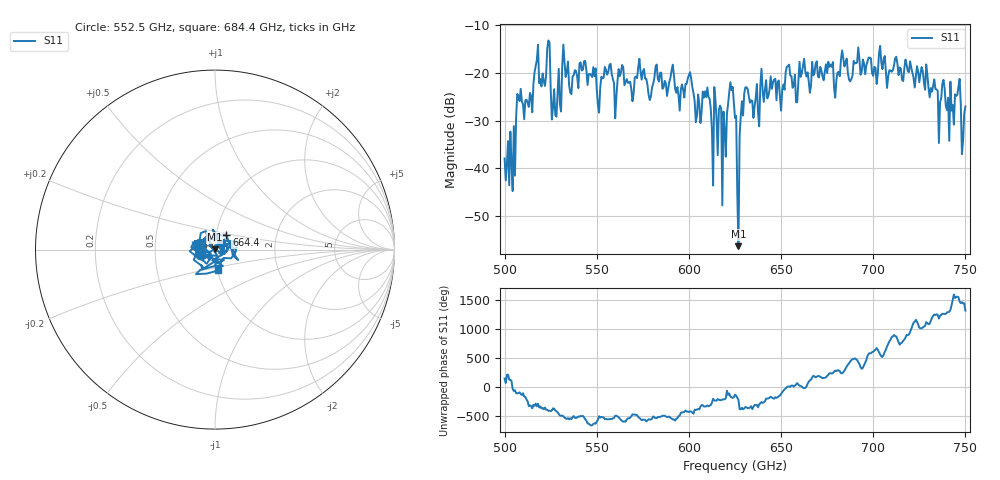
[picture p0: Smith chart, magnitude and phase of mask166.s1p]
!Created with skrf (http://scikit-rf.org).
# GHz S MA R 50.0
!freq magS11 angS11
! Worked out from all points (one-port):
!   401 points, 500 GHz to 750 GHz, reference 50 ohm
!   lowest |S11| = -56.4 dB at 626.9 GHz (marker M1), VSWR 1.00, Z = 49.9 + j0.11 ohm
!   |S11| at or under -10 dB: start of sweep to end of sweep
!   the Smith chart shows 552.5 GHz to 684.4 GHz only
!   S11 on the Smith chart (normalised r, x): 552.5 GHz: 0.84, -0.05; 664.4 GHz: 1.12, +0.18; 684.4 GHz: 1.01, -0.24
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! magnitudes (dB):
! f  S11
! 500 GHz  -37.9
! 505 GHz  -31.1
! 507.5 GHz  -24.9
! 513.8 GHz  -24.2
! 516.9 GHz  -18.6
! 520.6 GHz  -20.1
! 523.8 GHz  -13.2
! 526.9 GHz  -23.4
! 531.2 GHz  -18.5
! 552.5 GHz  -20.8
! 562.5 GHz  -20.6
! 590.6 GHz  -19.4
! 593.8 GHz  -22.9
! 610 GHz  -23.0
! 611.9 GHz  -27.6
! 619.4 GHz  -31.7
! 623.1 GHz  -23.6
! 625 GHz  -29.4
! 625.6 GHz  -29.0
! 626.9 GHz  -56.4
! 628.8 GHz  -25.9
! 631.2 GHz  -23.0
! 656.2 GHz  -23.1
! 664.4 GHz  -19.9
! 684.4 GHz  -18.6
! 687.5 GHz  -21.8
! 718.8 GHz  -19.6
! 750 GHz  -27.0
